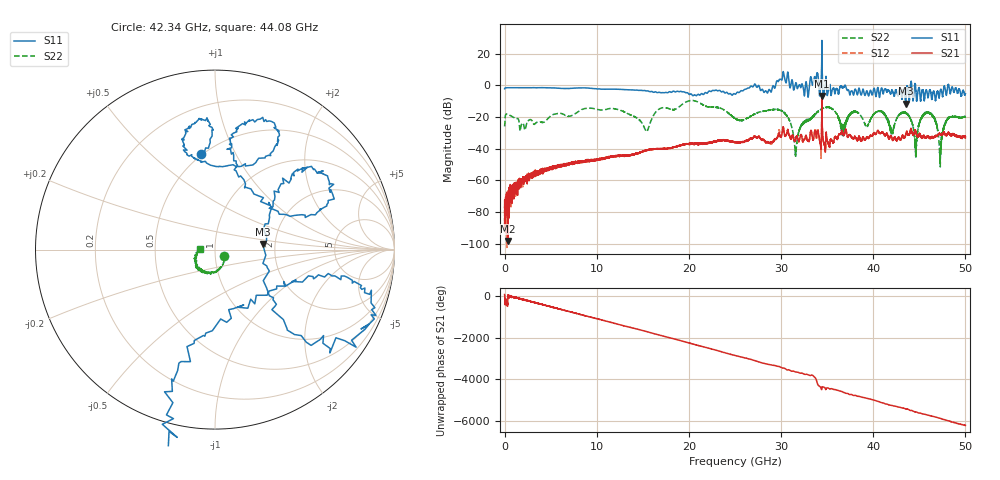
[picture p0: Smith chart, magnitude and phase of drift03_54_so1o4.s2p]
!Created with skrf (http://scikit-rf.org).
# Hz S RI R 50.0
!freq ReS11 ImS11 ReS21 ImS21 ReS12 ImS12 ReS22 ImS22
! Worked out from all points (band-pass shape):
!   10000 points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, 5.3 MHz to 50 GHz, reference 50 ohm
!   highest |S21| = -6.63 dB at 34.43 GHz (marker M1); lowest = -98.2 dB at 355.3 MHz (marker M2)
!   |S21| within 3 dB of the highest: 34.42744 GHz to 34.43469 GHz (7.244 MHz wide, 0.021 % of centre)
!   lowest |S11| = -11.4 dB at 43.52 GHz (marker M3), VSWR 1.73, Z = 86 + j5.89 ohm
!   |S11| at or under -10 dB: 43.48925 GHz to 43.54234 GHz (53.09 MHz wide, 0.122 % of centre)
!   |S22| runs from -51.5 to -9.4 dB; largest |S21 - S12| = 0.13
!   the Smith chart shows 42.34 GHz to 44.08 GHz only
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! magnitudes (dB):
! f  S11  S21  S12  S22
! 5.3 MHz  -2.1  -77.2  -78.7  -25.9
! 355.3 MHz  -1.4  -98.2  -67.5  -18.2
! 2.545 GHz  -1.4  -59.2  -57.9  -22.5
! 8.34 GHz  -1.5  -48.9  -48.4  -15.3
! 15.4 GHz  -3.4  -40.9  -40.9  -28.9
! 16.67 GHz  -4.4  -40.1  -39.8  -15.3
! 20.45 GHz  -6.5  -37.0  -36.5  -9.5
! 25.01 GHz  -5.5  -35.6  -35.9  -20.7
! 29.96 GHz  3.9  -32.8  -32.3  -15.7
! 31.6 GHz  1.5  -33.8  -33.9  -43.1
! 33.34 GHz  2.6  -30.2  -30.5  -20.0
! 34.43 GHz  28.5  -6.6  -8.5  -14.5
! 36.69 GHz  -1.4  -29.9  -29.9  -28.2
! 37.95 GHz  -3.9  -32.7  -32.7  -16.2
! 41.67 GHz  -3.0  -33.4  -33.3  -23.1
! 43.52 GHz  -11.4  -31.4  -31.4  -17.7
! 44.61 GHz  -1.2  -28.9  -28.8  -40.7
! 45.32 GHz  -3.2  -33.1  -33.0  -19.3
! 46.28 GHz  -6.0  -32.8  -32.6  -18.1
! 47.29 GHz  -3.0  -30.8  -30.8  -43.8
! 48.1 GHz  0.0  -30.2  -30.1  -20.6
! 50 GHz  -5.2  -33.0  -32.4  -19.6
